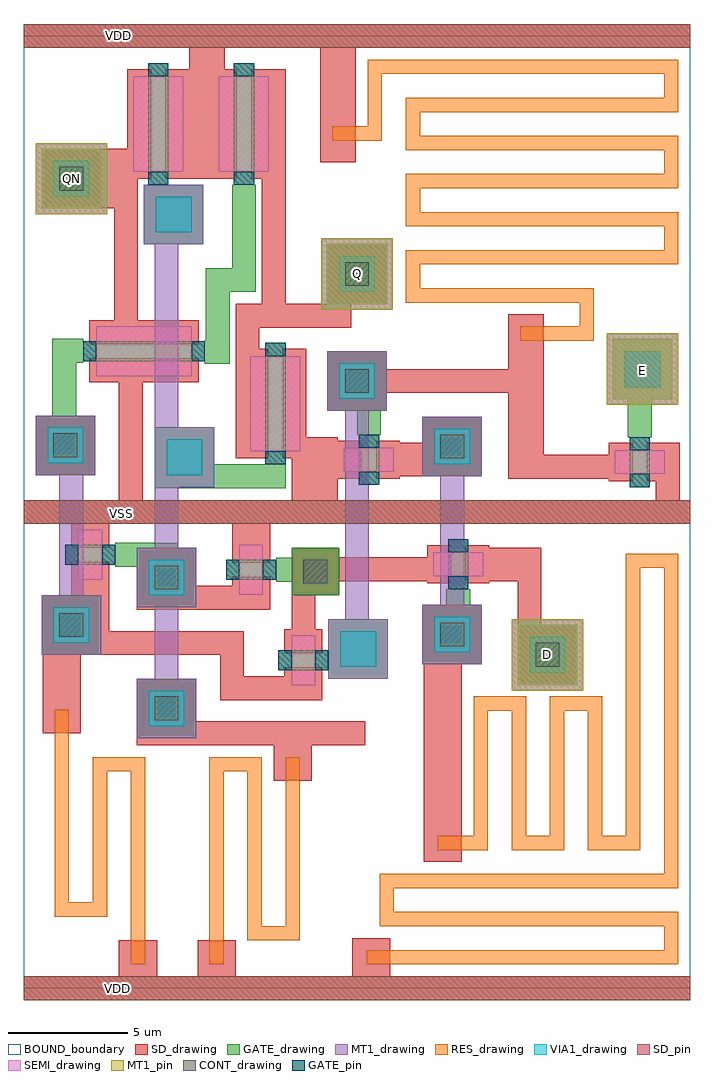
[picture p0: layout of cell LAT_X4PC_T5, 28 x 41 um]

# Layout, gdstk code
from math import pi, radians
import gdstk
lib = gdstk.Library(unit=1e-6, precision=1e-09)
def R(c, l, rs):  # rectangles x0, y0, x1, y1
    for r in rs: c.add(gdstk.rectangle(r[:2], r[2:], *l))
def A(c, l, x, y, w, h, nx, ny, dx, dy):  # array of equal rectangles
    R(c, l, [(x+i*dx, y+j*dy, x+i*dx+w, y+j*dy+h) for i in range(nx) for j in range(ny)])
def P(c, l, *ps):  # polygons
    for p in ps: c.add(gdstk.Polygon(p, *l))
RES_drawing = (1, 0)
SEMI_drawing = (3, 0)
SD_drawing = (10, 0)
SD_pin = (10, 3)
GATE_drawing = (11, 0)
GATE_pin = (11, 3)
MT1_drawing = (20, 0)
MT1_pin = (20, 3)
CONT_drawing = (30, 0)
VIA1_drawing = (41, 0)
BOUND_boundary = (150, 5)

nch_cdns_772544957280 = lib.new_cell('nch_CDNS_772544957280')
R(nch_cdns_772544957280, SEMI_drawing, [(-1.05,-0.5,1.05,0.5)])
R(nch_cdns_772544957280, SD_drawing, [(-1.3,-0.8,-0.3,0.8), (0.3,-0.8,1.3,0.8)])
R(nch_cdns_772544957280, GATE_drawing, [(-0.425,-1.05,0.425,1.05)])
R(nch_cdns_772544957280, GATE_pin, [(-0.425,-1.05,0.425,-0.5), (-0.425,0.5,0.425,1.05)])

res_cdns_772544957281 = lib.new_cell('res_CDNS_772544957281')
A(res_cdns_772544957281, RES_drawing, -1.9, -3.35, 0.6, 6.7, 3, 1, 1.6, 0)
R(res_cdns_772544957281, RES_drawing, [(1.3,-5.35,1.9,-3.35), (-1.3,-3.35,-0.3,-2.75), (0.3,2.75,1.3,3.35), (-1.9,3.35,-1.3,5.35)])
R(res_cdns_772544957281, SD_drawing, [(0.8,-5.85,2.4,-4.35), (-2.4,4.35,-0.8,5.85)])

nch_cdns_772544957282 = lib.new_cell('nch_CDNS_772544957282')
R(nch_cdns_772544957282, SEMI_drawing, [(-1.05,-2,1.05,2)])
R(nch_cdns_772544957282, SD_drawing, [(-1.3,-2.3,-0.3,2.3), (0.3,-2.3,1.3,2.3)])
R(nch_cdns_772544957282, GATE_drawing, [(-0.425,-2.55,0.425,2.55)])
R(nch_cdns_772544957282, GATE_pin, [(-0.425,-2.55,0.425,-2), (-0.425,2,0.425,2.55)])

sd_gate_cdns_77254495728 = lib.new_cell('SD_GATE_CDNS_772544957280')
R(sd_gate_cdns_77254495728, SD_drawing, [(-1.25,-1.25,1.25,1.25)])
R(sd_gate_cdns_77254495728, GATE_drawing, [(-1.25,-1.25,1.25,1.25)])
R(sd_gate_cdns_77254495728, CONT_drawing, [(-0.5,-0.5,0.5,0.5)])

gate_mt1_cdns_7725449572 = lib.new_cell('GATE_MT1_CDNS_772544957281')
R(gate_mt1_cdns_7725449572, GATE_drawing, [(-1.25,-1.25,1.25,1.25)])
R(gate_mt1_cdns_7725449572, MT1_drawing, [(-1.5,-1.5,1.5,1.5)])
R(gate_mt1_cdns_7725449572, VIA1_drawing, [(-0.75,-0.75,0.75,0.75)])

c_gate_mt1_cdns_7725449572 = lib.new_cell('GATE_MT1_CDNS_772544957282')
R(c_gate_mt1_cdns_7725449572, GATE_drawing, [(-1.25,-1.25,1.25,1.25)])
R(c_gate_mt1_cdns_7725449572, MT1_drawing, [(-1.25,-1.25,1.25,1.25)])
R(c_gate_mt1_cdns_7725449572, VIA1_drawing, [(-0.75,-0.75,0.75,0.75)])

c_sd_gate_cdns_77254495728 = lib.new_cell('SD_GATE_CDNS_772544957283')
R(c_sd_gate_cdns_77254495728, SD_drawing, [(-1,-1,1,1)])
R(c_sd_gate_cdns_77254495728, GATE_drawing, [(-1,-1,1,1)])
R(c_sd_gate_cdns_77254495728, CONT_drawing, [(-0.5,-0.5,0.5,0.5)])

lat_x4pc_t5 = lib.new_cell('LAT_X4PC_T5')
R(lat_x4pc_t5, RES_drawing, [(7.8,1,8.4,3), (9.4,2,10,9.7), (10,2,11,2.6), (11,2,11.6,8.7), (7.8,3,8.4,9.7), (11,8.7,11.6,9.7), (8.4,9.1,9.4,9.7)])
A(lat_x4pc_t5, SD_drawing, 0, -0.5, 28, 1, 1, 3, 0, 20)
R(lat_x4pc_t5, SD_drawing, [(7.3,0.5,8.9,2), (13.8,0.5,15.4,2.1), (16.8,5.3,18.4,13.6), (10.5,8.7,12.1,10.2), (0.8,12.2,2.4,14), (20.75,12.75,23.25,15.25), (16.75,13.6,19.25,16.1), (0.75,14,3.25,16.5), (11.25,14.825,12.25,17.3), (11.25,17.1,16.95,18.1), (8.75,18.875,10.35,19.5), (0.5,21.55,3,24.05), (20.35,26,21.85,28.3), (3.15,32.75,4.8,35.25), (12.45,34.7,13.95,39.5)])
P(lat_x4pc_t5, SD_drawing, [(24.675,22.4),(21.85,22.4),(21.85,26),(14.5,26),(14.5,25),(20.35,25),(20.35,21.4),(24.675,21.4)],
  [(21.75,15.25),(21.75,18.5),(19.55,18.5),(19.55,17.1),(20.75,17.1),(20.75,15.25)],
  [(12.55,13.1),(9.25,13.1),(9.25,15),(3.6,15),(3.6,17.5),(2,17.5),(2,16.5),(2.5,16.5),(2.5,14),(8.25,14),(8.25,12.1),(12.55,12.1)],
  [(10.35,16.275),(8.75,16.275),(8.75,16.9),(4.75,16.9),(4.75,15.9),(10.35,15.9)])
A(lat_x4pc_t5, SD_pin, 0, -0.5, 28, 1, 1, 3, 0, 20)
P(lat_x4pc_t5, GATE_drawing, [(12.9,13.25),(12.9,14.25),(12.8,14.25),(12.8,14.15),(12.75,14.15),(12.75,13.4),(12.8,13.4),(12.8,13.25)],
  [(17.75,16.65),(18.75,16.65),(18.75,16.75),(18.625,16.75),(18.625,16.8),(17.875,16.8),(17.875,16.75),(17.75,16.75)],
  [(10.7,17.075),(10.7,18.075),(10.6,18.075),(10.6,17.95),(10.55,17.95),(10.55,17.2),(10.6,17.2),(10.6,17.075)],
  [(7.65,26.225),(7.65,27.225),(7.6,27.225),(7.6,27.125),(7.55,27.125),(7.55,26.375),(7.6,26.375),(7.6,26.225)],
  [(2.4,27.275),(2.4,26.275),(2.5,26.275),(2.5,26.375),(2.55,26.375),(2.55,27.125),(2.5,27.125),(2.5,27.275)],
  [(10.1,21.9),(11,21.9),(11,22.05),(10.25,22.05),(10.25,22),(10.1,22)],
  [(15,23.35),(14,23.35),(14,23.25),(14.125,23.25),(14.125,23.2),(14.875,23.2),(14.875,23.25),(15,23.25)],
  [(26.375,23.25),(25.375,23.25),(25.375,23.15),(25.5,23.15),(25.5,23.1),(26.25,23.1),(26.25,23.15),(26.375,23.15)],
  [(3.95,17.7),(3.95,18.7),(3.85,18.7),(3.85,18.575),(3.8,18.575),(3.8,17.825),(3.85,17.825),(3.85,17.7)],
  [(8.75,33.65),(9.75,33.65),(9.75,33.75),(9.625,33.75),(9.625,33.8),(8.875,33.8),(8.875,33.75),(8.75,33.75)],
  [(5.125,33.65),(6.125,33.65),(6.125,33.75),(6.025,33.75),(6.025,33.8),(5.275,33.8),(5.275,33.75),(5.125,33.75)])
R(lat_x4pc_t5, MT1_drawing, [(20.5,12.5,23.5,15.5), (24.5,24.5,27.5,27.5), (12.5,28.5,15.5,31.5), (0.5,32.5,3.5,35.5)])
R(lat_x4pc_t5, MT1_pin, [(20.5,12.5,23.5,15.5), (24.5,24.5,27.5,27.5), (12.5,28.5,15.5,31.5), (0.5,32.5,3.5,35.5)])
R(lat_x4pc_t5, BOUND_boundary, [(0,0,28,40)])
lat_x4pc_t5.add(gdstk.FlexPath([(14.5,24.75),(14.5,23.35)], 1, ends="flush", simple_path=True, layer=11, datatype=0))  # GATE_drawing
lat_x4pc_t5.add(gdstk.FlexPath([(9.25,29.75),(8.15,29.75)], 1, ends="extended", simple_path=True, layer=11, datatype=0))  # GATE_drawing
lat_x4pc_t5.add(gdstk.FlexPath([(8.15,29.75),(8.15,26.225)], 1, ends=(0.5, 0), simple_path=True, layer=11, datatype=0))  # GATE_drawing
lat_x4pc_t5.add(gdstk.FlexPath([(25.875,23.25),(25.875,26)], 1, ends="flush", simple_path=True, layer=11, datatype=0))  # GATE_drawing
lat_x4pc_t5.add(gdstk.FlexPath([(18.25,14.85),(18,14.85)], 1, ends=(0.5, 0), simple_path=True, layer=11, datatype=0))  # GATE_drawing
lat_x4pc_t5.add(gdstk.FlexPath([(10.7,17.575),(11.25,17.575)], 1, ends="flush", simple_path=True, layer=11, datatype=0))  # GATE_drawing
lat_x4pc_t5.add(gdstk.FlexPath([(3.95,18.2),(6,18.2)], 1, ends=(0, 0.5), simple_path=True, layer=11, datatype=0))  # GATE_drawing
lat_x4pc_t5.add(gdstk.FlexPath([(11,21.5),(6,21.5)], 1, ends=(0, 0.5), simple_path=True, layer=11, datatype=0))  # GATE_drawing
lat_x4pc_t5.add(gdstk.FlexPath([(6,18.2),(6,17.25)], 1, ends=(0.5, 0), simple_path=True, layer=11, datatype=0))  # GATE_drawing
lat_x4pc_t5.add(gdstk.FlexPath([(6,21.5),(6,21.875)], 1, ends=(0.5, 0), simple_path=True, layer=11, datatype=0))  # GATE_drawing
lat_x4pc_t5.add(gdstk.FlexPath([(1.7,26.775),(1.7,22.05)], 1, ends="extended", simple_path=True, layer=11, datatype=0))  # GATE_drawing
lat_x4pc_t5.add(gdstk.FlexPath([(9.25,33.65),(9.25,29.75)], 1, ends=(0, 0.5), simple_path=True, layer=11, datatype=0))  # GATE_drawing
lat_x4pc_t5.add(gdstk.FlexPath([(2.4,26.775),(1.7,26.775)], 1, ends=(0, 0.5), simple_path=True, layer=11, datatype=0))  # GATE_drawing
lat_x4pc_t5.add(gdstk.FlexPath([(18.25,16.65),(18.25,14.85)], 1, ends=(0, 0.5), simple_path=True, layer=11, datatype=0))  # GATE_drawing
lat_x4pc_t5.add(gdstk.FlexPath([(2.4,22.05),(1.8,22.05)], 1, ends=(0.5, 0), simple_path=True, layer=11, datatype=0))  # GATE_drawing
lat_x4pc_t5.add(gdstk.FlexPath([(10.5,38.1),(10.5,28.25)], 1, ends="extended", simple_path=True, layer=10, datatype=0))  # SD_drawing
lat_x4pc_t5.add(gdstk.FlexPath([(7.95,34),(7.95,39.5)], 1, ends=(0, 0.5), simple_path=True, layer=10, datatype=0))  # SD_drawing
lat_x4pc_t5.add(gdstk.FlexPath([(27.05,22.9),(27.05,20.45)], 1, ends="flush", simple_path=True, layer=10, datatype=0))  # SD_drawing
lat_x4pc_t5.add(gdstk.FlexPath([(12.7,23.15),(12.7,20.5)], 1, ends="flush", simple_path=True, layer=10, datatype=0))  # SD_drawing
lat_x4pc_t5.add(gdstk.FlexPath([(15.8,22.2),(18,22.2)], 1.4, ends=(0, 0.7), simple_path=True, layer=10, datatype=0))  # SD_drawing
lat_x4pc_t5.add(gdstk.FlexPath([(13.85,10.7),(13.85,11.2)], 1, ends=(0.5, 0), simple_path=True, layer=10, datatype=0))  # SD_drawing
lat_x4pc_t5.add(gdstk.FlexPath([(6,10.7),(13.85,10.7)], 1, ends=(1.25, 0.5), simple_path=True, layer=10, datatype=0))  # SD_drawing
lat_x4pc_t5.add(gdstk.FlexPath([(11.75,23.15),(11.75,20.5)], 1, ends="flush", simple_path=True, layer=10, datatype=0))  # SD_drawing
lat_x4pc_t5.add(gdstk.FlexPath([(7.45,34),(7.45,39.95)], 1, ends="flush", simple_path=True, layer=10, datatype=0))  # SD_drawing
lat_x4pc_t5.add(gdstk.FlexPath([(2,33.25),(2,34.05)], 1, ends=(0.5, 0), simple_path=True, layer=10, datatype=0))  # SD_drawing
lat_x4pc_t5.add(gdstk.FlexPath([(10.5,28.25),(9.4,28.25)], 1, ends="extended", simple_path=True, layer=10, datatype=0))  # SD_drawing
lat_x4pc_t5.add(gdstk.FlexPath([(4.25,33.25),(2,33.25)], 1, ends=(0, 0.5), simple_path=True, layer=10, datatype=0))  # SD_drawing
lat_x4pc_t5.add(gdstk.FlexPath([(9.4,28.25),(9.4,22.25)], 1, ends=(0.5, 0), simple_path=True, layer=10, datatype=0))  # SD_drawing
lat_x4pc_t5.add(gdstk.FlexPath([(18,22.2),(18,22.75)], 1.4, ends=(0.7, 0), simple_path=True, layer=10, datatype=0))  # SD_drawing
lat_x4pc_t5.add(gdstk.FlexPath([(13.25,28.25),(10.5,28.25)], 1, ends="extended", simple_path=True, layer=10, datatype=0))  # SD_drawing
lat_x4pc_t5.add(gdstk.FlexPath([(4.5,20.5),(4.5,25.45)], 1, ends="flush", simple_path=True, layer=10, datatype=0))  # SD_drawing
lat_x4pc_t5.add(gdstk.FlexPath([(4.3,28.05),(4.3,33.25)], 1, ends=(0, 0.5), simple_path=True, layer=10, datatype=0))  # SD_drawing
lat_x4pc_t5.add(gdstk.FlexPath([(4.3,35.25),(4.3,33.25)], 1, ends=(0, 0.5), simple_path=True, layer=10, datatype=0))  # SD_drawing
lat_x4pc_t5.add(gdstk.FlexPath([(18,15.35),(18,22.25)], 1, ends="flush", simple_path=True, layer=20, datatype=0))  # MT1_drawing
lat_x4pc_t5.add(gdstk.FlexPath([(14,25.65),(14,14.95)], 1, ends="flush", simple_path=True, layer=20, datatype=0))  # MT1_drawing
lat_x4pc_t5.add(gdstk.FlexPath([(6,32.65),(6,11)], 1, ends="flush", simple_path=True, layer=20, datatype=0))  # MT1_drawing
lat_x4pc_t5.add(gdstk.FlexPath([(2,16),(2,22.45)], 1, ends="flush", simple_path=True, layer=20, datatype=0))  # MT1_drawing
lat_x4pc_t5.add(gdstk.FlexPath([(14.4,1.3),(27.2,1.3),(27.2,2.9),(15.25,2.9),(15.25,4.5),(27.2,4.5),(27.2,17.95),(25.6,17.95),(25.6,6.1),(24,6.1),(24,11.95),(22.4,11.95),(22.4,6.1),(20.8,6.1),(20.8,11.95),(19.2,11.95),(19.2,6.1),(17.4,6.1)], 0.6, ends="flush", simple_path=True, layer=1, datatype=0))  # RES_drawing
lat_x4pc_t5.add(gdstk.FlexPath([(13.95,35.9),(14.75,35.9),(14.75,38.7),(27.2,38.7),(27.2,37.1),(16.35,37.1),(16.35,35.5),(27.2,35.5),(27.2,33.9),(16.35,33.9),(16.35,32.3),(27.2,32.3),(27.2,30.7),(16.35,30.7),(16.35,29.1),(23.65,29.1),(23.65,27.5),(20.85,27.5)], 0.6, ends=(1, 0), simple_path=True, layer=1, datatype=0))  # RES_drawing
lat_x4pc_t5.add(gdstk.Reference(nch_cdns_772544957280, (18.25,17.8)))
lat_x4pc_t5.add(gdstk.Reference(nch_cdns_772544957280, (9.55,17.575), rotation=3*pi/2))
lat_x4pc_t5.add(gdstk.Reference(nch_cdns_772544957280, (11.75,13.775), rotation=pi/2))
lat_x4pc_t5.add(gdstk.Reference(nch_cdns_772544957280, (2.8,18.2), rotation=3*pi/2))
lat_x4pc_t5.add(gdstk.Reference(nch_cdns_772544957280, (14.5,22.2)))
lat_x4pc_t5.add(gdstk.Reference(nch_cdns_772544957280, (25.875,22.1), rotation=pi, x_reflection=True))
lat_x4pc_t5.add(gdstk.Reference(res_cdns_772544957281, (3.2,6.35)))
lat_x4pc_t5.add(gdstk.Reference(nch_cdns_772544957282, (5.65,36.3)))
lat_x4pc_t5.add(gdstk.Reference(nch_cdns_772544957282, (9.25,36.3), rotation=pi))
lat_x4pc_t5.add(gdstk.Reference(nch_cdns_772544957282, (5.05,26.75), rotation=pi/2))
lat_x4pc_t5.add(gdstk.Reference(nch_cdns_772544957282, (10.575,24.55), rotation=pi))
lat_x4pc_t5.add(gdstk.Reference(sd_gate_cdns_77254495728, (14,25.5)))
lat_x4pc_t5.add(gdstk.Reference(sd_gate_cdns_77254495728, (14,25.5)))
lat_x4pc_t5.add(gdstk.Reference(sd_gate_cdns_77254495728, (14,25.5)))
lat_x4pc_t5.add(gdstk.Reference(sd_gate_cdns_77254495728, (14,25.5)))
lat_x4pc_t5.add(gdstk.Reference(sd_gate_cdns_77254495728, (18,22.75), rotation=pi, x_reflection=True))
lat_x4pc_t5.add(gdstk.Reference(sd_gate_cdns_77254495728, (18,22.75), rotation=pi, x_reflection=True))
lat_x4pc_t5.add(gdstk.Reference(sd_gate_cdns_77254495728, (18,22.75), rotation=pi, x_reflection=True))
lat_x4pc_t5.add(gdstk.Reference(sd_gate_cdns_77254495728, (18,22.75), rotation=pi, x_reflection=True))
lat_x4pc_t5.add(gdstk.Reference(sd_gate_cdns_77254495728, (18,22.75), rotation=pi, x_reflection=True))
lat_x4pc_t5.add(gdstk.Reference(sd_gate_cdns_77254495728, (6,17.25)))
lat_x4pc_t5.add(gdstk.Reference(sd_gate_cdns_77254495728, (6,17.25)))
lat_x4pc_t5.add(gdstk.Reference(sd_gate_cdns_77254495728, (6,17.25)))
lat_x4pc_t5.add(gdstk.Reference(sd_gate_cdns_77254495728, (6,17.25)))
lat_x4pc_t5.add(gdstk.Reference(sd_gate_cdns_77254495728, (6,17.25)))
lat_x4pc_t5.add(gdstk.Reference(sd_gate_cdns_77254495728, (6,11.75)))
lat_x4pc_t5.add(gdstk.Reference(sd_gate_cdns_77254495728, (6,11.75)))
lat_x4pc_t5.add(gdstk.Reference(sd_gate_cdns_77254495728, (6,11.75)))
lat_x4pc_t5.add(gdstk.Reference(sd_gate_cdns_77254495728, (6,11.75)))
lat_x4pc_t5.add(gdstk.Reference(sd_gate_cdns_77254495728, (6,11.75)))
lat_x4pc_t5.add(gdstk.Reference(sd_gate_cdns_77254495728, (2,34), rotation=pi))
lat_x4pc_t5.add(gdstk.Reference(sd_gate_cdns_77254495728, (14,30), rotation=pi))
lat_x4pc_t5.add(gdstk.Reference(gate_mt1_cdns_7725449572, (2,34), rotation=pi))
lat_x4pc_t5.add(gdstk.Reference(gate_mt1_cdns_7725449572, (14,30), rotation=pi))
lat_x4pc_t5.add(gdstk.Reference(c_gate_mt1_cdns_7725449572, (26,26)))
lat_x4pc_t5.add(gdstk.Reference(c_gate_mt1_cdns_7725449572, (22,14)))
lat_x4pc_t5.add(gdstk.Reference(c_gate_mt1_cdns_7725449572, (14,25.5)))
lat_x4pc_t5.add(gdstk.Reference(c_gate_mt1_cdns_7725449572, (14,25.5)))
lat_x4pc_t5.add(gdstk.Reference(c_gate_mt1_cdns_7725449572, (14,25.5)))
lat_x4pc_t5.add(gdstk.Reference(c_gate_mt1_cdns_7725449572, (14,25.5)))
lat_x4pc_t5.add(gdstk.Reference(c_gate_mt1_cdns_7725449572, (18,14.85)))
lat_x4pc_t5.add(gdstk.Reference(c_gate_mt1_cdns_7725449572, (18,14.85)))
lat_x4pc_t5.add(gdstk.Reference(c_gate_mt1_cdns_7725449572, (18,14.85)))
lat_x4pc_t5.add(gdstk.Reference(c_gate_mt1_cdns_7725449572, (18,14.85)))
lat_x4pc_t5.add(gdstk.Reference(c_gate_mt1_cdns_7725449572, (18,14.85)))
lat_x4pc_t5.add(gdstk.Reference(c_gate_mt1_cdns_7725449572, (14.05,14.25)))
lat_x4pc_t5.add(gdstk.Reference(c_gate_mt1_cdns_7725449572, (18,22.75), rotation=pi, x_reflection=True))
lat_x4pc_t5.add(gdstk.Reference(c_gate_mt1_cdns_7725449572, (18,22.75), rotation=pi, x_reflection=True))
lat_x4pc_t5.add(gdstk.Reference(c_gate_mt1_cdns_7725449572, (18,22.75), rotation=pi, x_reflection=True))
lat_x4pc_t5.add(gdstk.Reference(c_gate_mt1_cdns_7725449572, (18,22.75), rotation=pi, x_reflection=True))
lat_x4pc_t5.add(gdstk.Reference(c_gate_mt1_cdns_7725449572, (18,22.75), rotation=pi, x_reflection=True))
lat_x4pc_t5.add(gdstk.Reference(c_gate_mt1_cdns_7725449572, (6,17.25)))
lat_x4pc_t5.add(gdstk.Reference(c_gate_mt1_cdns_7725449572, (6,17.25)))
lat_x4pc_t5.add(gdstk.Reference(c_gate_mt1_cdns_7725449572, (6,17.25)))
lat_x4pc_t5.add(gdstk.Reference(c_gate_mt1_cdns_7725449572, (6,17.25)))
lat_x4pc_t5.add(gdstk.Reference(c_gate_mt1_cdns_7725449572, (6,17.25)))
lat_x4pc_t5.add(gdstk.Reference(c_gate_mt1_cdns_7725449572, (6,11.75)))
lat_x4pc_t5.add(gdstk.Reference(c_gate_mt1_cdns_7725449572, (6,11.75)))
lat_x4pc_t5.add(gdstk.Reference(c_gate_mt1_cdns_7725449572, (6,11.75)))
lat_x4pc_t5.add(gdstk.Reference(c_gate_mt1_cdns_7725449572, (6,11.75)))
lat_x4pc_t5.add(gdstk.Reference(c_gate_mt1_cdns_7725449572, (6,11.75)))
lat_x4pc_t5.add(gdstk.Reference(c_gate_mt1_cdns_7725449572, (1.75,22.8)))
lat_x4pc_t5.add(gdstk.Reference(c_gate_mt1_cdns_7725449572, (2,15.25)))
lat_x4pc_t5.add(gdstk.Reference(c_gate_mt1_cdns_7725449572, (6.75,22.3)))
lat_x4pc_t5.add(gdstk.Reference(c_gate_mt1_cdns_7725449572, (6.75,22.3)))
lat_x4pc_t5.add(gdstk.Reference(c_gate_mt1_cdns_7725449572, (6.75,22.3)))
lat_x4pc_t5.add(gdstk.Reference(c_gate_mt1_cdns_7725449572, (6.75,22.3)))
lat_x4pc_t5.add(gdstk.Reference(c_gate_mt1_cdns_7725449572, (6.75,22.3)))
lat_x4pc_t5.add(gdstk.Reference(c_gate_mt1_cdns_7725449572, (6.3,32.5)))
lat_x4pc_t5.add(gdstk.Reference(c_gate_mt1_cdns_7725449572, (6.3,32.5)))
lat_x4pc_t5.add(gdstk.Reference(c_gate_mt1_cdns_7725449572, (6.3,32.5)))
lat_x4pc_t5.add(gdstk.Reference(c_gate_mt1_cdns_7725449572, (6.3,32.5)))
lat_x4pc_t5.add(gdstk.Reference(c_gate_mt1_cdns_7725449572, (6.3,32.5)))
lat_x4pc_t5.add(gdstk.Reference(c_sd_gate_cdns_77254495728, (12.25,17.5)))
lat_x4pc_t5.add(gdstk.Reference(c_sd_gate_cdns_77254495728, (12.25,17.5)))
lat_x4pc_t5.add(gdstk.Reference(c_sd_gate_cdns_77254495728, (12.25,17.5)))
lat_x4pc_t5.add(gdstk.Reference(c_sd_gate_cdns_77254495728, (12.25,17.5)))
lat_x4pc_t5.add(gdstk.Reference(c_sd_gate_cdns_77254495728, (12.25,17.5)))
lat_x4pc_t5.add(gdstk.Reference(c_sd_gate_cdns_77254495728, (22,14)))
lat_x4pc_t5.add(gdstk.Reference(c_sd_gate_cdns_77254495728, (18,14.85)))
lat_x4pc_t5.add(gdstk.Reference(c_sd_gate_cdns_77254495728, (1.75,22.8)))
lat_x4pc_t5.add(gdstk.Reference(c_sd_gate_cdns_77254495728, (2,15.25)))
lat_x4pc_t5.add(gdstk.Label('D', (22,14), layer=20, texttype=3))
lat_x4pc_t5.add(gdstk.Label('D', (22,14), layer=20, texttype=3))
lat_x4pc_t5.add(gdstk.Label('E', (26,25.95), layer=20, texttype=3))
lat_x4pc_t5.add(gdstk.Label('QN', (2,34), layer=20, texttype=3))
lat_x4pc_t5.add(gdstk.Label('Q', (14,30), layer=20, texttype=3))
lat_x4pc_t5.add(gdstk.Label('VDD', (3.95,0), layer=10, texttype=3))
lat_x4pc_t5.add(gdstk.Label('VSS', (4.1,19.95), layer=10, texttype=3))
lat_x4pc_t5.add(gdstk.Label('VDD', (4,40), layer=10, texttype=3))

lib.write_gds('LAT_X4PC_T5.gds')
